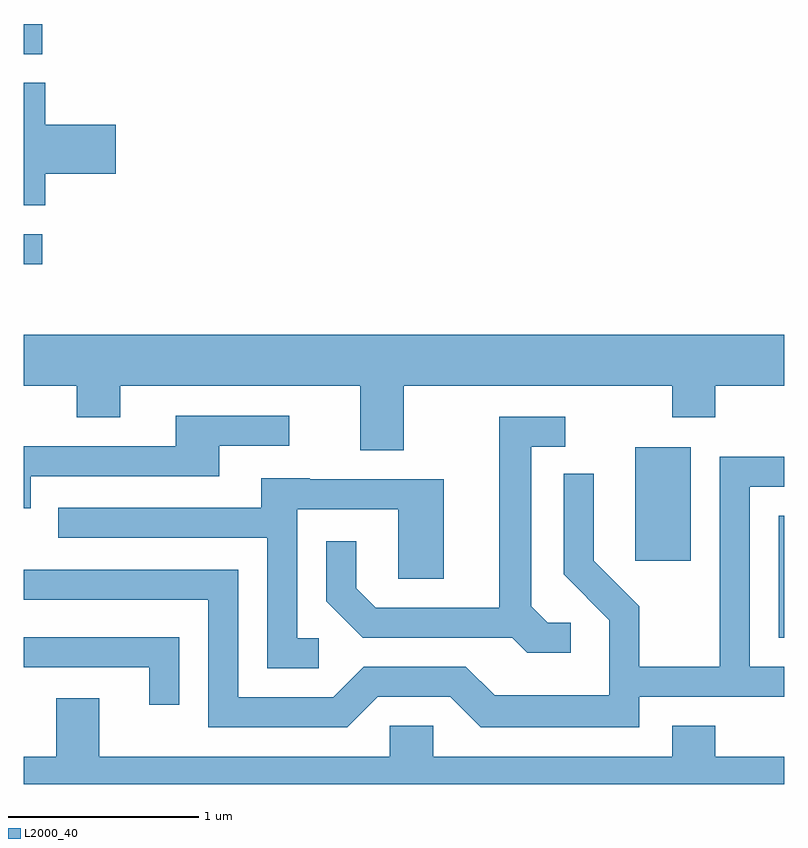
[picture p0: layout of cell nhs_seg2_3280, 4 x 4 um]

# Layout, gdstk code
import gdstk
lib = gdstk.Library(unit=1e-6, precision=1e-09)
def R(c, l, rs):  # rectangles x0, y0, x1, y1
    for r in rs: c.add(gdstk.rectangle(r[:2], r[2:], *l))
def P(c, l, *ps):  # polygons
    for p in ps: c.add(gdstk.Polygon(p, *l))
L2000_40 = (2000, 40)

nhs_seg2_3280 = lib.new_cell('nhs_seg2_3280')
R(nhs_seg2_3280, L2000_40, [(285.581,1022.571,285.611,1023.214), (284.826,1022.976,285.119,1023.574), (281.611,1024.536,281.708,1024.694), (281.611,1025.641,281.708,1025.799)])
P(nhs_seg2_3280, L2000_40, [(281.724,1025.011),(282.094,1025.011),(282.094,1025.269),(281.724,1025.269),(281.724,1025.489),(281.611,1025.489),(281.611,1024.846),(281.724,1024.846)],
  [(283.609,1023.896),(285.021,1023.896),(285.021,1023.731),(285.249,1023.731),(285.249,1023.896),(285.611,1023.896),(285.611,1024.164),(281.611,1024.164),(281.611,1023.896),(281.891,1023.896),(281.891,1023.731),(282.119,1023.731),(282.119,1023.896),(283.381,1023.896),(283.381,1023.556),(283.609,1023.556)],
  [(281.649,1023.421),(282.639,1023.421),(282.639,1023.581),(283.008,1023.581),(283.008,1023.739),(282.411,1023.739),(282.411,1023.579),(281.611,1023.579),(281.611,1023.251),(281.649,1023.251)],
  [(284.488,1022.649),(284.367,1022.649),(284.279,1022.737),(284.279,1023.576),(284.458,1023.576),(284.458,1023.734),(284.111,1023.734),(284.111,1022.729),(283.462,1022.729),(283.359,1022.832),(283.359,1023.078),(283.201,1023.078),(283.201,1022.764),(283.394,1022.571),(284.179,1022.571),(284.259,1022.491),(284.488,1022.491)],
  [(283.472,1022.261),(283.854,1022.261),(284.014,1022.101),(284.849,1022.101),(284.849,1022.261),(285.611,1022.261),(285.611,1022.419),(285.429,1022.419),(285.429,1023.366),(285.611,1023.366),(285.611,1023.524),(285.271,1023.524),(285.271,1022.419),(284.849,1022.419),(284.849,1022.737),(284.609,1022.977),(284.609,1023.433),(284.451,1023.433),(284.451,1022.904),(284.691,1022.664),(284.691,1022.269),(284.087,1022.269),(283.937,1022.419),(283.399,1022.419),(283.239,1022.259),(282.739,1022.259),(282.739,1022.929),(281.611,1022.929),(281.611,1022.771),(282.581,1022.771),(282.581,1022.101),(283.312,1022.101)],
  [(283.163,1022.569),(283.049,1022.569),(283.049,1023.246),(283.581,1023.246),(283.581,1022.881),(283.819,1022.881),(283.819,1023.404),(283.115,1023.404),(283.115,1023.409),(282.861,1023.409),(282.861,1023.254),(281.793,1023.254),(281.793,1023.096),(282.891,1023.096),(282.891,1022.411),(283.163,1022.411)],
  [(282.429,1022.574),(281.611,1022.574),(281.611,1022.416),(282.271,1022.416),(282.271,1022.218),(282.429,1022.218)],
  [(285.611,1021.944),(285.249,1021.944),(285.249,1022.109),(285.021,1022.109),(285.021,1021.944),(283.764,1021.944),(283.764,1022.109),(283.536,1022.109),(283.536,1021.944),(282.009,1021.944),(282.009,1022.254),(281.781,1022.254),(281.781,1021.944),(281.611,1021.944),(281.611,1021.802),(285.611,1021.802)])

lib.write_gds('nhs_seg2_3280.gds')
